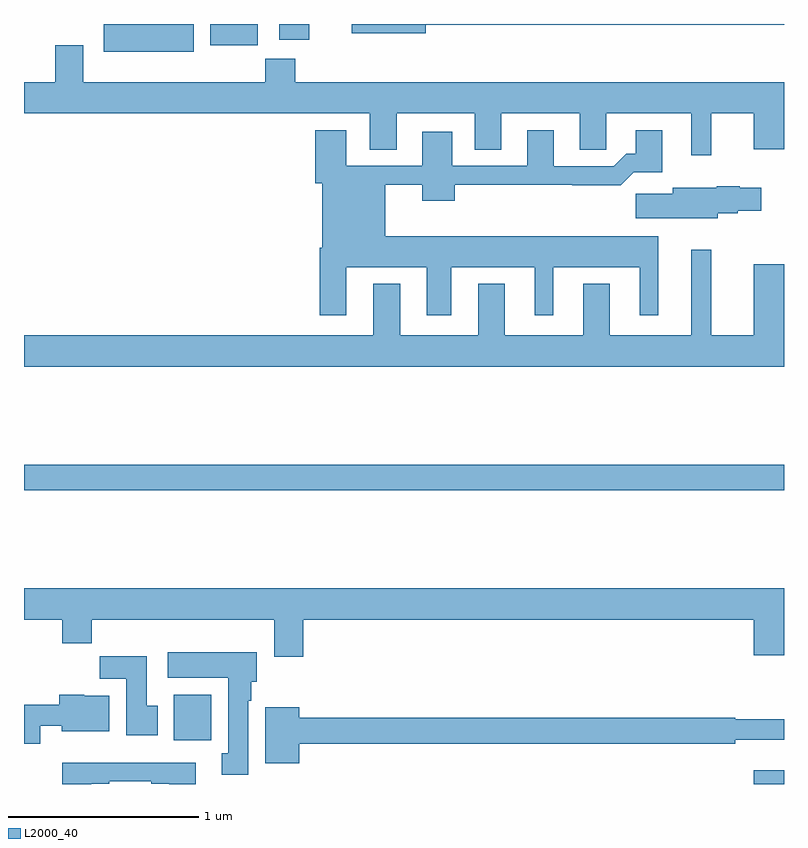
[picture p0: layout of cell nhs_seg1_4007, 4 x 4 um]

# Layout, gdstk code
import gdstk
lib = gdstk.Library(unit=1e-6, precision=1e-09)
def R(c, l, rs):  # rectangles x0, y0, x1, y1
    for r in rs: c.add(gdstk.rectangle(r[:2], r[2:], *l))
def P(c, l, *ps):  # polygons
    for p in ps: c.add(gdstk.Polygon(p, *l))
L2000_40 = (2000, 40)

nhs_seg1_4007 = lib.new_cell('nhs_seg1_4007')
R(nhs_seg1_4007, L2000_40, [(332.84,552.199,333,552.271), (329.789,552.428,329.986,552.67), (329,553.744,333,553.88), (329.981,556.086,330.23,556.199), (330.344,556.116,330.502,556.199)])
P(nhs_seg1_4007, L2000_40, [(331.114,556.194),(333,556.194),(333,556.199),(330.726,556.199),(330.726,556.151),(331.114,556.151)],
  [(329.893,556.198),(329.554,556.198),(329.554,556.199),(329.42,556.199),(329.42,556.052),(329.893,556.052)],
  [(332.617,555.728),(332.84,555.728),(332.84,555.54),(333,555.54),(333,555.892),(330.428,555.892),(330.428,556.016),(330.271,556.016),(330.271,555.892),(329.311,555.892),(329.311,556.087),(329.164,556.087),(329.164,555.892),(329,555.892),(329,555.728),(330.821,555.728),(330.821,555.538),(330.961,555.538),(330.961,555.728),(331.373,555.728),(331.373,555.538),(331.513,555.538),(331.513,555.728),(331.925,555.728),(331.925,555.538),(332.064,555.538),(332.064,555.728),(332.513,555.728),(332.513,555.507),(332.617,555.507)],
  [(330.697,554.918),(331.121,554.918),(331.121,554.667),(331.249,554.667),(331.249,554.918),(331.688,554.918),(331.688,554.667),(331.786,554.667),(331.786,554.918),(332.24,554.918),(332.24,554.667),(332.338,554.667),(332.338,555.082),(330.901,555.082),(330.901,555.352),(331.097,555.352),(331.097,555.269),(331.268,555.269),(331.268,555.352),(331.885,555.352),(331.885,555.35),(332.141,555.35),(332.21,555.419),(332.359,555.419),(332.359,555.64),(332.219,555.64),(332.219,555.517),(332.17,555.517),(332.103,555.45),(331.789,555.45),(331.789,555.64),(331.649,555.64),(331.649,555.453),(331.255,555.453),(331.255,555.631),(331.097,555.631),(331.097,555.453),(330.697,555.453),(330.697,555.64),(330.533,555.64),(330.533,555.36),(330.569,555.36),(330.569,555.022),(330.557,555.022),(330.557,554.667),(330.697,554.667)],
  [(332.65,555.203),(332.757,555.203),(332.757,555.215),(332.881,555.215),(332.881,555.337),(332.768,555.337),(332.768,555.345),(332.646,555.345),(332.646,555.337),(332.414,555.337),(332.414,555.305),(332.22,555.305),(332.22,555.176),(332.65,555.176)],
  [(333,554.935),(332.84,554.935),(332.84,554.56),(332.617,554.56),(332.617,555.01),(332.513,555.01),(332.513,554.56),(332.083,554.56),(332.083,554.833),(331.943,554.833),(331.943,554.56),(331.531,554.56),(331.531,554.833),(331.391,554.833),(331.391,554.56),(330.979,554.56),(330.979,554.833),(330.839,554.833),(330.839,554.56),(329,554.56),(329,554.396),(333,554.396)],
  [(330.47,553.064),(332.84,553.064),(332.84,552.876),(333,552.876),(333,553.228),(329,553.228),(329,553.064),(329.201,553.064),(329.201,552.94),(329.357,552.94),(329.357,553.064),(330.317,553.064),(330.317,552.87),(330.47,552.87)],
  [(330.181,552.638),(330.196,552.638),(330.196,552.738),(330.226,552.738),(330.226,552.892),(329.757,552.892),(329.757,552.758),(330.074,552.758),(330.074,552.362),(330.041,552.362),(330.041,552.249),(330.181,552.249)],
  [(329.704,552.612),(329.647,552.612),(329.647,552.871),(329.398,552.871),(329.398,552.752),(329.537,552.752),(329.537,552.456),(329.704,552.456)],
  [(329.085,552.506),(329.198,552.506),(329.198,552.476),(329.449,552.476),(329.449,552.664),(329.316,552.664),(329.316,552.67),(329.186,552.67),(329.186,552.616),(329,552.616),(329,552.412),(329.085,552.412)],
  [(330.448,552.412),(332.744,552.412),(332.744,552.431),(333,552.431),(333,552.541),(332.744,552.541),(332.744,552.548),(330.448,552.548),(330.448,552.604),(330.269,552.604),(330.269,552.308),(330.448,552.308)],
  [(329.353,552.201),(329.449,552.201),(329.449,552.213),(329.669,552.213),(329.669,552.201),(329.765,552.201),(329.765,552.199),(329.905,552.199),(329.905,552.31),(329.201,552.31),(329.201,552.199),(329.353,552.199)])

lib.write_gds('nhs_seg1_4007.gds')
